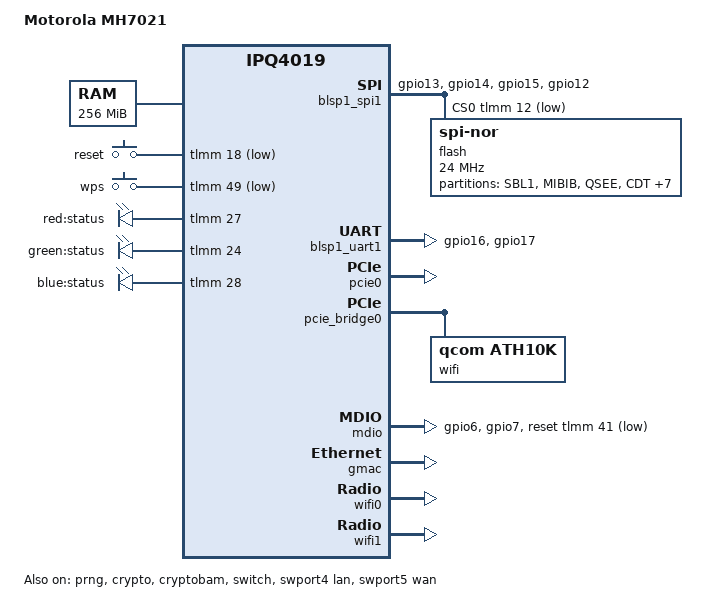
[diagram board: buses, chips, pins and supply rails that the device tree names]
// SPDX-License-Identifier: GPL-2.0-or-later OR MIT
/*
 * Motorola MH7021 (satellite of the MH7022 mesh kit). Qualcomm reference
 * AP-DK07.1-C1: IPQ4019, 256 MiB DDR, W25Q256 32 MiB SPI-NOR, tri-band
 * (IPQ4019 2.4 GHz + 5 GHz low, QCA9888 on PCIe for 5 GHz high / backhaul),
 * two Ethernet jacks on PHY3/PHY4. Derived from the vendor device tree
 * (qcom-ipq4019 QSDK, Linux 4.4.60) and proven RAM-booting the GL-B2200 image.
 */

#include "qcom-ipq4019.dtsi"
#include <dt-bindings/gpio/gpio.h>
#include <dt-bindings/input/input.h>
#include <dt-bindings/leds/common.h>
#include <dt-bindings/soc/qcom,tcsr.h>

/ {
	model = "Motorola MH7021";
	compatible = "motorola,mh7021", "qcom,ipq4019";

	memory {
		device_type = "memory";
		reg = <0x80000000 0x10000000>;
	};

	chosen {
		bootargs-append = " clk_ignore_unused";
	};

	aliases {
		/* the LAN/label MAC lives on the gmac (ART+0x6, see macaddr_art_6) */
		label-mac-device = &gmac;
		led-boot = &led_blue;
		led-failsafe = &led_red;
		led-running = &led_blue;
		led-upgrade = &led_green;
	};

	soc {
		tcsr@1949000 {
			compatible = "qcom,tcsr";
			reg = <0x1949000 0x100>;
			qcom,wifi_glb_cfg = <TCSR_WIFI_GLB_CFG>;
		};

		ess_tcsr@1953000 {
			compatible = "qcom,tcsr";
			reg = <0x1953000 0x1000>;
			qcom,ess-interface-select = <TCSR_ESS_PSGMII>;
		};

		tcsr@1957000 {
			compatible = "qcom,tcsr";
			reg = <0x1957000 0x100>;
			qcom,wifi_noc_memtype_m0_m2 = <TCSR_WIFI_NOC_MEMTYPE_M0_M2>;
		};
	};

	keys {
		compatible = "gpio-keys";

		/* Both verified by watching the GPIO lines while pressing: reset pulls
		 * GPIO 18 low, WPS pulls GPIO 49 low (matches the vendor's runtime
		 * button driver; the vendor DT's labels for these pins are wrong). */
		reset {
			label = "reset";
			gpios = <&tlmm 18 GPIO_ACTIVE_LOW>;
			linux,code = <KEY_RESTART>;
		};

		wps {
			label = "wps";
			gpios = <&tlmm 49 GPIO_ACTIVE_LOW>;
			linux,code = <KEY_WPS_BUTTON>;
		};
	};

	leds {
		compatible = "gpio-leds";

		/* RGB status light: three discrete LEDs (LED7/LED14/LED10 on the
		 * board) behind one light pipe. Mapped by driving GPIOs from a
		 * running system with the board in view; U-Boot leaves all three low. */
		led_red: led-0 {
			label = "red:status";
			gpios = <&tlmm 27 GPIO_ACTIVE_HIGH>;
		};

		led_green: led-1 {
			label = "green:status";
			gpios = <&tlmm 24 GPIO_ACTIVE_HIGH>;
		};

		led_blue: led-2 {
			label = "blue:status";
			gpios = <&tlmm 28 GPIO_ACTIVE_HIGH>;
		};

		/* The vendor DT also names wifi-led-gpios 32/50 (active-low), but
		 * those LED pads are not populated on this board. */
	};
};

&prng {
	status = "okay";
};

/* Explicit on release kernels (6.12); main enables them in the dtsi. */
&crypto {
	status = "okay";
};

&cryptobam {
	status = "okay";
};

&blsp_dma {
	status = "okay";
};

&blsp1_spi1 {
	pinctrl-0 = <&spi_0_pins>;
	pinctrl-names = "default";
	status = "okay";
	cs-gpios = <&tlmm 12 GPIO_ACTIVE_LOW>;

	flash@0 {
		compatible = "jedec,spi-nor";
		reg = <0>;
		spi-max-frequency = <24000000>;

		partitions {
			compatible = "fixed-partitions";
			#address-cells = <1>;
			#size-cells = <1>;

			partition@0 {
				label = "SBL1";
				reg = <0x0 0x40000>;
				read-only;
			};

			partition@40000 {
				label = "MIBIB";
				reg = <0x40000 0x20000>;
				read-only;
			};

			partition@60000 {
				label = "QSEE";
				reg = <0x60000 0x60000>;
				read-only;
			};

			partition@c0000 {
				label = "CDT";
				reg = <0xc0000 0x10000>;
				read-only;
			};

			partition@d0000 {
				label = "DDRPARAMS";
				reg = <0xd0000 0x10000>;
				read-only;
			};

			partition@e0000 {
				label = "APPSBLENV";
				reg = <0xe0000 0x10000>;
				read-only;
			};

			partition@f0000 {
				label = "APPSBL";
				reg = <0xf0000 0x80000>;
				read-only;
			};

			partition@170000 {
				label = "ART";
				reg = <0x170000 0x10000>;
				read-only;

				nvmem-layout {
					compatible = "fixed-layout";
					#address-cells = <1>;
					#size-cells = <1>;

					/* Factory MACs, same values as the U-Boot env:
					 * 0x0 = wanaddr, 0x6 = ethaddr (LAN / label). */
					macaddr_art_0: macaddr@0 {
						compatible = "mac-base";
						reg = <0x0 0x6>;
						#nvmem-cell-cells = <1>;
					};

					macaddr_art_6: macaddr@6 {
						compatible = "mac-base";
						reg = <0x6 0x6>;
						#nvmem-cell-cells = <1>;
					};

					precal_art_1000: precal@1000 {
						reg = <0x1000 0x2f20>;
					};

					precal_art_5000: precal@5000 {
						reg = <0x5000 0x2f20>;
					};

					precal_art_9000: precal@9000 {
						reg = <0x9000 0x2f20>;
					};
				};
			};

			/* Vendor "Kernel" region: FIT + squashfs, 0x180000-0x1bf0000 */
			firmware@180000 {
				compatible = "denx,fit";
				label = "firmware";
				reg = <0x180000 0x1a70000>;
			};

			/* Vendor factory data and jffs2 config -- kept, untouched */
			partition@1d00000 {
				label = "cli_factory_ext";
				reg = <0x1d00000 0x200000>;
				read-only;
			};

			partition@1f00000 {
				label = "storage";
				reg = <0x1f00000 0x100000>;
				read-only;
			};
		};
	};
};

&blsp1_uart1 {
	pinctrl-0 = <&serial_pins>;
	pinctrl-names = "default";
	status = "okay";
};

&tlmm {
	mdio_pins: mdio_pinmux {
		mux_1 {
			pins = "gpio6";
			function = "mdio";
			bias-pull-up;
		};

		mux_2 {
			pins = "gpio7";
			function = "mdc";
			bias-pull-up;
		};
	};

	serial_pins: serial_pinmux {
		mux {
			pins = "gpio16", "gpio17";
			function = "blsp_uart0";
			bias-disable;
		};
	};

	spi_0_pins: spi_0_pinmux {
		pinmux {
			function = "blsp_spi0";
			pins = "gpio13", "gpio14", "gpio15";
		};
		pinmux_cs {
			function = "gpio";
			pins = "gpio12";
		};
		pinconf {
			pins = "gpio13", "gpio14", "gpio15";
			drive-strength = <12>;
			bias-disable;
		};
		pinconf_cs {
			pins = "gpio12";
			drive-strength = <2>;
			bias-disable;
			output-high;
		};
	};
};

&pcie0 {
	status = "okay";
	perst-gpios = <&tlmm 38 GPIO_ACTIVE_LOW>;
};

&pcie_bridge0 {
	wifi@0,0 {
		/* QCA9888 (168c:0056), 5 GHz high band; the vendor's mesh backhaul */
		compatible = "qcom,ath10k";
		reg = <0x00010000 0 0 0 0>;
		ieee80211-freq-limit = <5450000 5900000>;
		nvmem-cell-names = "pre-calibration";
		nvmem-cells = <&precal_art_9000>;
		qcom,ath10k-calibration-variant = "Motorola-MH7021";
	};
};

/* The vendor resets the PHYs on GPIO 41 at every boot, and it is needed:
 * after a warm reboot (kernel restart -> U-Boot crashdump detour -> U-Boot
 * self-reset) the QCA8072 PHYs were not found on the bus and the switch
 * ports failed to register. Reset them from the kernel, deterministically. */
&mdio {
	status = "okay";
	pinctrl-0 = <&mdio_pins>;
	pinctrl-names = "default";
	reset-gpios = <&tlmm 41 GPIO_ACTIVE_LOW>;
	reset-delay-us = <2000>;
};

&gmac {
	status = "okay";

	/* Without this the EDMA driver picks a random MAC on every boot and
	 * lan/wan/br-lan inherit it. */
	nvmem-cells = <&macaddr_art_6 0>;
	nvmem-cell-names = "mac-address";
};

&switch {
	status = "okay";
};

/* The two jacks are PHY3 and PHY4 (vendor enables switch ports 3 and 4;
 * the vendor WAN bitmap is PHY4). */
&swport4 {
	status = "okay";

	label = "lan";
	/* Release kernels (6.12) take the port MAC here rather than from &gmac. */
	nvmem-cells = <&macaddr_art_6 0>;
	nvmem-cell-names = "mac-address";
};

&swport5 {
	status = "okay";

	label = "wan";
	nvmem-cells = <&macaddr_art_0 0>;
	nvmem-cell-names = "mac-address";
};

&wifi0 {
	status = "okay";
	nvmem-cell-names = "pre-calibration";
	nvmem-cells = <&precal_art_1000>;
	qcom,ath10k-calibration-variant = "Motorola-MH7021";
};

&wifi1 {
	status = "okay";
	nvmem-cell-names = "pre-calibration";
	nvmem-cells = <&precal_art_5000>;
	qcom,ath10k-calibration-variant = "Motorola-MH7021";
	ieee80211-freq-limit = <5100000 5400000>;
};
